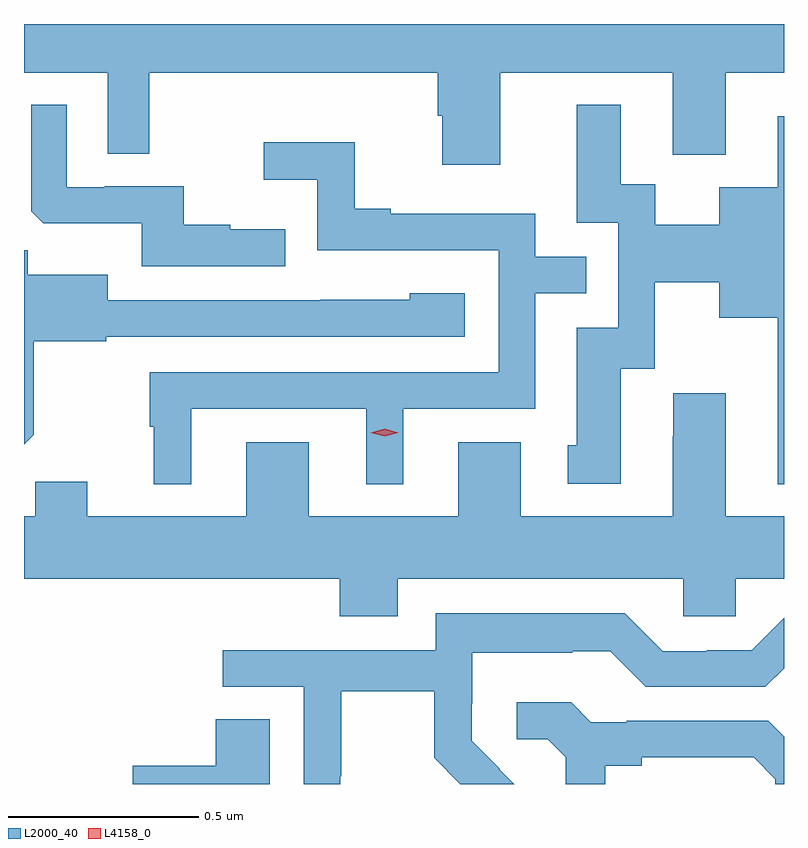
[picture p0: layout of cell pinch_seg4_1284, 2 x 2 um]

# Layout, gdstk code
import gdstk
lib = gdstk.Library(unit=1e-6, precision=1e-09)
def P(c, l, *ps):  # polygons
    for p in ps: c.add(gdstk.Polygon(p, *l))
L2000_40 = (2000, 40)
L4158_0 = (4158, 0)

pinch_seg4_1284 = lib.new_cell('pinch_seg4_1284')
P(pinch_seg4_1284, L2000_40, [(265.634,766.184),(265.854,766.184),(265.854,765.97),(265.963,765.97),(265.963,766.184),(266.723,766.184),(266.723,766.071),(266.735,766.071),(266.735,765.942),(266.887,765.942),(266.887,766.184),(267.341,766.184),(267.341,765.968),(267.481,765.968),(267.481,766.184),(267.634,766.184),(267.634,766.312),(265.634,766.312)],
  [(267.634,766.069),(267.617,766.069),(267.617,765.883),(267.464,765.883),(267.464,765.784),(267.295,765.784),(267.295,765.89),(267.205,765.89),(267.205,766.099),(267.089,766.099),(267.089,765.789),(267.198,765.789),(267.198,765.513),(267.089,765.513),(267.089,765.204),(267.065,765.204),(267.065,765.102),(267.205,765.102),(267.205,765.405),(267.294,765.405),(267.294,765.632),(267.464,765.632),(267.464,765.539),(267.617,765.539),(267.617,765.101),(267.634,765.101)],
  [(266.321,765.772),(266.177,765.772),(266.177,765.784),(266.054,765.784),(266.054,765.885),(265.846,765.885),(265.846,765.882),(265.746,765.882),(265.746,766.099),(265.653,766.099),(265.653,765.819),(265.685,765.788),(265.944,765.788),(265.944,765.675),(266.321,765.675)],
  [(266.074,765.3),(266.534,765.3),(266.534,765.101),(266.632,765.101),(266.632,765.3),(266.979,765.3),(266.979,765.603),(267.113,765.603),(267.113,765.699),(266.979,765.699),(266.979,765.813),(266.599,765.813),(266.599,765.826),(266.505,765.826),(266.505,766.001),(266.265,766.001),(266.265,765.902),(266.406,765.902),(266.406,765.717),(266.883,765.717),(266.883,765.396),(265.965,765.396),(265.965,765.252),(265.976,765.252),(265.976,765.101),(266.074,765.101)],
  [(265.659,765.231),(265.659,765.477),(265.851,765.477),(265.851,765.489),(266.794,765.489),(266.794,765.604),(266.649,765.604),(266.649,765.586),(266.413,765.586),(266.413,765.585),(265.855,765.585),(265.855,765.652),(265.644,765.652),(265.644,765.716),(265.634,765.716),(265.634,765.206)],
  [(266.617,764.852),(267.369,764.852),(267.369,764.754),(267.507,764.754),(267.507,764.852),(267.634,764.852),(267.634,765.016),(267.481,765.016),(267.481,765.34),(267.342,765.34),(267.342,765.227),(267.341,765.227),(267.341,765.016),(266.941,765.016),(266.941,765.211),(266.777,765.211),(266.777,765.016),(266.383,765.016),(266.383,765.211),(266.219,765.211),(266.219,765.016),(265.801,765.016),(265.801,765.107),(265.663,765.107),(265.663,765.016),(265.634,765.016),(265.634,764.852),(266.465,764.852),(266.465,764.753),(266.617,764.753)],
  [(266.466,764.332),(266.469,764.332),(266.469,764.556),(266.713,764.556),(266.713,764.381),(266.782,764.312),(266.924,764.312),(266.885,764.351),(266.886,764.352),(266.812,764.426),(266.812,764.523),(266.814,764.523),(266.814,764.657),(267.077,764.657),(267.077,764.661),(267.177,764.661),(267.27,764.568),(267.585,764.568),(267.634,764.617),(267.634,764.749),(267.549,764.664),(267.431,764.664),(267.431,764.661),(267.315,764.661),(267.215,764.761),(266.718,764.761),(266.718,764.664),(266.157,764.664),(266.157,764.568),(266.37,764.568),(266.37,764.312),(266.466,764.312)],
  [(267.163,764.36),(267.259,764.36),(267.259,764.382),(267.554,764.382),(267.611,764.325),(267.611,764.312),(267.634,764.312),(267.634,764.436),(267.592,764.478),(267.22,764.478),(267.22,764.475),(267.126,764.475),(267.074,764.527),(266.931,764.527),(266.931,764.43),(267.012,764.43),(267.059,764.383),(267.059,764.312),(267.163,764.312)],
  [(266.281,764.483),(266.138,764.483),(266.138,764.36),(265.92,764.36),(265.92,764.312),(266.281,764.312)])
P(pinch_seg4_1284, L4158_0, [(266.583,765.227),(266.547,765.236),(266.547,765.237),(266.547,765.237),(266.583,765.247),(266.619,765.237),(266.619,765.237),(266.619,765.237)])

lib.write_gds('pinch_seg4_1284.gds')
